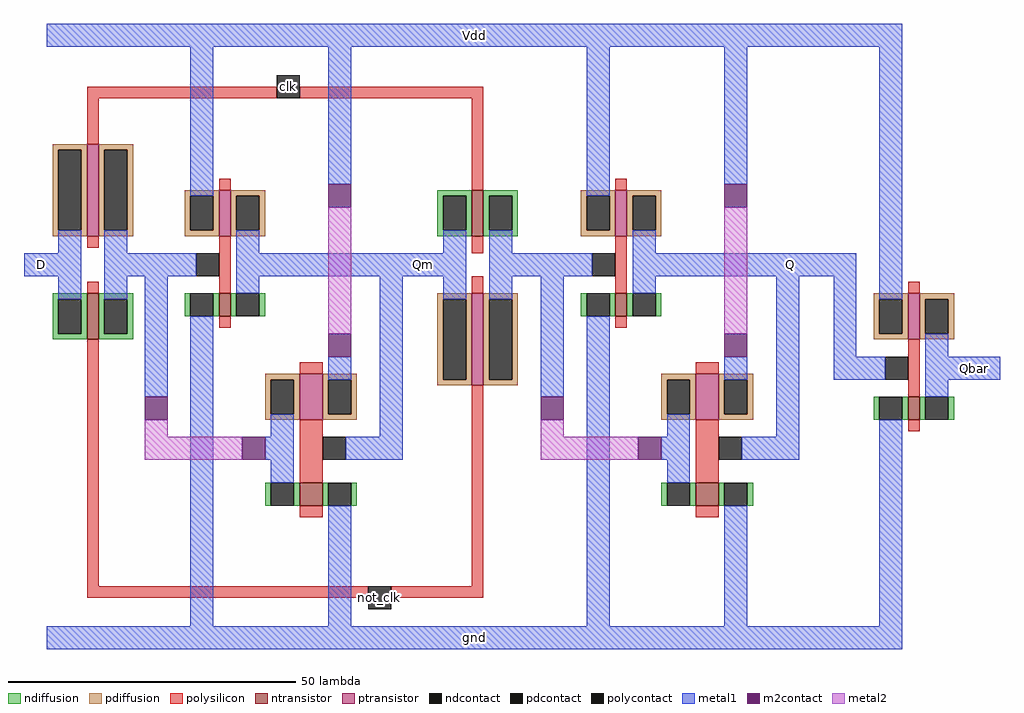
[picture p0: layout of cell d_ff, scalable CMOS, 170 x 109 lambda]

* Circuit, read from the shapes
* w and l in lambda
.subckt d_ff D Q Qbar Qm Vdd clk gnd not_clk
M1 n1 not_clk D VSUBS nfet w=8 l=2
M2 Qm n1 gnd VSUBS nfet w=4 l=2
M3 gnd Qm n1 VSUBS nfet w=4 l=4
M4 n2 clk Qm VSUBS nfet w=8 l=2
M5 Q n2 gnd VSUBS nfet w=4 l=2
M6 gnd Q n2 VSUBS nfet w=4 l=4
M7 Qbar Q gnd VSUBS nfet w=4 l=2
M8 n1 clk D NWELL pfet w=16 l=2
M9 Qm n1 Vdd NWELL pfet w=8 l=2
M10 Vdd Qm n1 NWELL pfet w=8 l=4
M11 n2 not_clk Qm NWELL pfet w=16 l=2
M12 Q n2 Vdd NWELL pfet w=8 l=2
M13 Vdd Q n2 NWELL pfet w=8 l=4
M14 Qbar Q Vdd NWELL pfet w=8 l=2
.ends

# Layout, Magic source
magic
tech scmos
<< polysilicon >>
rect -6 22 27 24
rect 31 22 63 24
rect -6 14 -4 22
rect 17 6 19 8
rect 61 6 63 22
rect 86 6 88 8
rect -6 -4 -4 -2
rect -6 -12 -4 -10
rect 17 -12 19 -2
rect 61 -5 63 -2
rect 61 -12 63 -9
rect 86 -12 88 -2
rect 137 -12 139 -10
rect 17 -18 19 -16
rect -6 -63 -4 -20
rect 31 -26 35 -24
rect 86 -18 88 -16
rect 100 -26 104 -24
rect 31 -45 35 -34
rect 31 -51 35 -49
rect 61 -63 63 -28
rect 137 -30 139 -20
rect 100 -45 104 -34
rect 137 -36 139 -34
rect 100 -51 104 -49
rect -6 -65 43 -63
rect 47 -65 63 -63
<< ndiffusion >>
rect 55 5 61 6
rect 55 -1 56 5
rect 60 -1 61 5
rect 55 -2 61 -1
rect 63 5 69 6
rect 63 -1 64 5
rect 68 -1 69 5
rect 63 -2 69 -1
rect -12 -13 -6 -12
rect -12 -19 -11 -13
rect -7 -19 -6 -13
rect -12 -20 -6 -19
rect -4 -13 2 -12
rect -4 -19 -3 -13
rect 1 -19 2 -13
rect 11 -16 12 -12
rect 16 -16 17 -12
rect 19 -16 20 -12
rect 24 -16 25 -12
rect -4 -20 2 -19
rect 80 -16 81 -12
rect 85 -16 86 -12
rect 88 -16 89 -12
rect 93 -16 94 -12
rect 25 -49 26 -45
rect 30 -49 31 -45
rect 35 -49 36 -45
rect 40 -49 41 -45
rect 131 -34 132 -30
rect 136 -34 137 -30
rect 139 -34 140 -30
rect 144 -34 145 -30
rect 94 -49 95 -45
rect 99 -49 100 -45
rect 104 -49 105 -45
rect 109 -49 110 -45
<< pdiffusion >>
rect -12 13 -6 14
rect -12 -1 -11 13
rect -7 -1 -6 13
rect -12 -2 -6 -1
rect -4 13 2 14
rect -4 -1 -3 13
rect 1 -1 2 13
rect -4 -2 2 -1
rect 11 5 17 6
rect 11 -1 12 5
rect 16 -1 17 5
rect 11 -2 17 -1
rect 19 5 25 6
rect 19 -1 20 5
rect 24 -1 25 5
rect 19 -2 25 -1
rect 80 5 86 6
rect 80 -1 81 5
rect 85 -1 86 5
rect 80 -2 86 -1
rect 88 5 94 6
rect 88 -1 89 5
rect 93 -1 94 5
rect 88 -2 94 -1
rect 55 -13 61 -12
rect 25 -27 31 -26
rect 25 -33 26 -27
rect 30 -33 31 -27
rect 25 -34 31 -33
rect 35 -27 41 -26
rect 35 -33 36 -27
rect 40 -33 41 -27
rect 55 -27 56 -13
rect 60 -27 61 -13
rect 55 -28 61 -27
rect 63 -13 69 -12
rect 63 -27 64 -13
rect 68 -27 69 -13
rect 131 -13 137 -12
rect 131 -19 132 -13
rect 136 -19 137 -13
rect 131 -20 137 -19
rect 139 -13 145 -12
rect 139 -19 140 -13
rect 144 -19 145 -13
rect 139 -20 145 -19
rect 63 -28 69 -27
rect 94 -27 100 -26
rect 35 -34 41 -33
rect 94 -33 95 -27
rect 99 -33 100 -27
rect 94 -34 100 -33
rect 104 -27 110 -26
rect 104 -33 105 -27
rect 109 -33 110 -27
rect 104 -34 110 -33
<< metal1 >>
rect -13 31 136 35
rect -11 -5 -7 -1
rect -17 -9 -7 -5
rect -11 -13 -7 -9
rect 12 5 16 31
rect 36 7 40 31
rect 81 5 85 31
rect 105 7 109 31
rect -3 -5 1 -1
rect 20 -5 24 -1
rect 56 -5 60 -1
rect -3 -9 13 -5
rect 20 -9 60 -5
rect -3 -13 1 -9
rect 4 -30 8 -9
rect 20 -12 24 -9
rect 12 -70 16 -16
rect 36 -27 40 -23
rect 26 -37 30 -33
rect 45 -37 49 -9
rect 56 -13 60 -9
rect 64 -5 68 -1
rect 89 -5 93 -1
rect 64 -9 82 -5
rect 89 -9 128 -5
rect 64 -13 68 -9
rect 73 -30 77 -9
rect 89 -12 93 -9
rect 25 -41 30 -37
rect 39 -41 49 -37
rect 26 -45 30 -41
rect 36 -70 40 -49
rect 81 -70 85 -16
rect 105 -27 109 -23
rect 95 -37 99 -33
rect 114 -37 118 -9
rect 124 -23 128 -9
rect 132 -13 136 31
rect 140 -23 144 -19
rect 124 -27 133 -23
rect 140 -27 153 -23
rect 140 -30 144 -27
rect 94 -41 99 -37
rect 108 -41 118 -37
rect 95 -45 99 -41
rect 105 -70 109 -49
rect 132 -70 136 -34
rect -13 -74 136 -70
<< metal2 >>
rect 36 -19 40 3
rect 105 -19 109 3
rect 4 -37 8 -34
rect 73 -37 77 -34
rect 4 -41 21 -37
rect 73 -41 90 -37
<< ntransistor >>
rect 61 -2 63 6
rect -6 -20 -4 -12
rect 17 -16 19 -12
rect 86 -16 88 -12
rect 31 -49 35 -45
rect 137 -34 139 -30
rect 100 -49 104 -45
<< ptransistor >>
rect -6 -2 -4 14
rect 17 -2 19 6
rect 86 -2 88 6
rect 31 -34 35 -26
rect 61 -28 63 -12
rect 137 -20 139 -12
rect 100 -34 104 -26
<< polycontact >>
rect 27 22 31 26
rect 13 -9 17 -5
rect 82 -9 86 -5
rect 35 -41 39 -37
rect 133 -27 137 -23
rect 104 -41 108 -37
rect 43 -67 47 -63
<< ndcontact >>
rect 56 -1 60 5
rect 64 -1 68 5
rect -11 -19 -7 -13
rect -3 -19 1 -13
rect 12 -16 16 -12
rect 20 -16 24 -12
rect 81 -16 85 -12
rect 89 -16 93 -12
rect 26 -49 30 -45
rect 36 -49 40 -45
rect 132 -34 136 -30
rect 140 -34 144 -30
rect 95 -49 99 -45
rect 105 -49 109 -45
<< pdcontact >>
rect -11 -1 -7 13
rect -3 -1 1 13
rect 12 -1 16 5
rect 20 -1 24 5
rect 81 -1 85 5
rect 89 -1 93 5
rect 26 -33 30 -27
rect 36 -33 40 -27
rect 56 -27 60 -13
rect 64 -27 68 -13
rect 132 -19 136 -13
rect 140 -19 144 -13
rect 95 -33 99 -27
rect 105 -33 109 -27
<< m2contact >>
rect 36 3 40 7
rect 4 -34 8 -30
rect 36 -23 40 -19
rect 105 3 109 7
rect 73 -34 77 -30
rect 21 -41 25 -37
rect 105 -23 109 -19
rect 90 -41 94 -37
<< labels >>
rlabel polycontact 27 22 31 26 0 clk
rlabel metal1 49 -9 56 -5 0 Qm
rlabel metal1 112 -9 121 -5 0 Q
rlabel polycontact 43 -67 47 -63 0 not_clk
rlabel metal1 -17 -9 -11 -5 0 D
rlabel metal1 144 -27 153 -23 0 Qbar
rlabel metal1 -13 31 136 35 0 Vdd
rlabel metal1 -13 -74 136 -70 0 gnd
<< end >>
